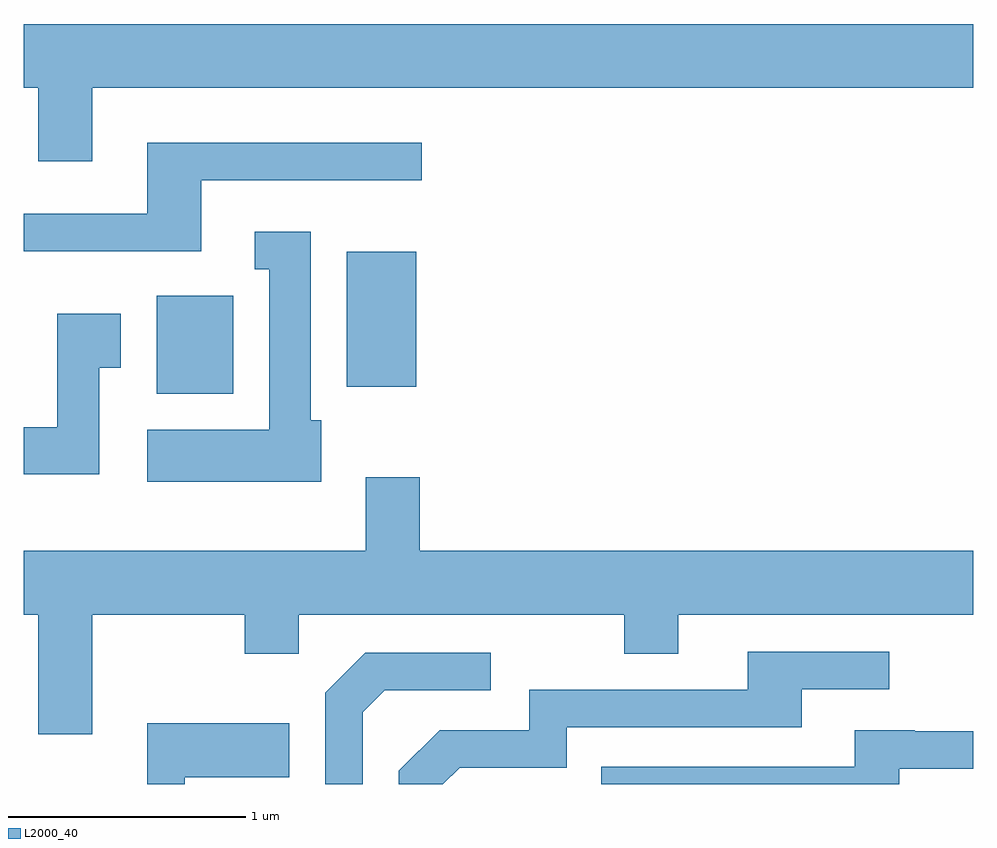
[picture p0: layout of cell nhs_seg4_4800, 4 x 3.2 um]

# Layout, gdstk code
import gdstk
lib = gdstk.Library(unit=1e-6, precision=1e-09)
def R(c, l, rs):  # rectangles x0, y0, x1, y1
    for r in rs: c.add(gdstk.rectangle(r[:2], r[2:], *l))
def P(c, l, *ps):  # polygons
    for p in ps: c.add(gdstk.Polygon(p, *l))
L2000_40 = (2000, 40)

nhs_seg4_4800 = lib.new_cell('nhs_seg4_4800')
R(nhs_seg4_4800, L2000_40, [(326.171,1335.626,326.494,1336.039), (326.971,1335.656,327.264,1336.224)])
P(nhs_seg4_4800, L2000_40, [(325.899,1336.916),(329.611,1336.916),(329.611,1337.184),(325.611,1337.184),(325.611,1336.916),(325.671,1336.916),(325.671,1336.606),(325.899,1336.606)],
  [(326.359,1336.526),(327.288,1336.526),(327.288,1336.684),(326.131,1336.684),(326.131,1336.384),(325.611,1336.384),(325.611,1336.226),(326.359,1336.226)],
  [(326.864,1335.514),(326.819,1335.514),(326.819,1336.309),(326.583,1336.309),(326.583,1336.151),(326.646,1336.151),(326.646,1335.474),(326.131,1335.474),(326.131,1335.256),(326.864,1335.256)],
  [(325.929,1335.736),(326.019,1335.736),(326.019,1335.964),(325.751,1335.964),(325.751,1335.484),(325.611,1335.484),(325.611,1335.286),(325.929,1335.286)],
  [(325.899,1334.696),(326.541,1334.696),(326.541,1334.531),(326.769,1334.531),(326.769,1334.696),(328.141,1334.696),(328.141,1334.531),(328.369,1334.531),(328.369,1334.696),(329.611,1334.696),(329.611,1334.964),(327.279,1334.964),(327.279,1335.274),(327.051,1335.274),(327.051,1334.964),(325.611,1334.964),(325.611,1334.696),(325.671,1334.696),(325.671,1334.191),(325.899,1334.191)],
  [(327.447,1334.051),(327.899,1334.051),(327.899,1334.221),(328.889,1334.221),(328.889,1334.381),(329.258,1334.381),(329.258,1334.539),(328.661,1334.539),(328.661,1334.379),(327.741,1334.379),(327.741,1334.209),(327.364,1334.209),(327.191,1334.037),(327.191,1333.982),(327.377,1333.982)],
  [(327.039,1334.284),(327.132,1334.376),(327.578,1334.376),(327.578,1334.534),(327.049,1334.534),(326.881,1334.367),(326.881,1333.982),(327.039,1333.982)],
  [(326.289,1334.011),(326.729,1334.011),(326.729,1334.239),(326.131,1334.239),(326.131,1333.982),(326.289,1333.982)],
  [(329.299,1334.046),(329.611,1334.046),(329.611,1334.204),(329.365,1334.204),(329.365,1334.209),(329.111,1334.209),(329.111,1334.054),(328.043,1334.054),(328.043,1333.982),(329.299,1333.982)])

lib.write_gds('nhs_seg4_4800.gds')
